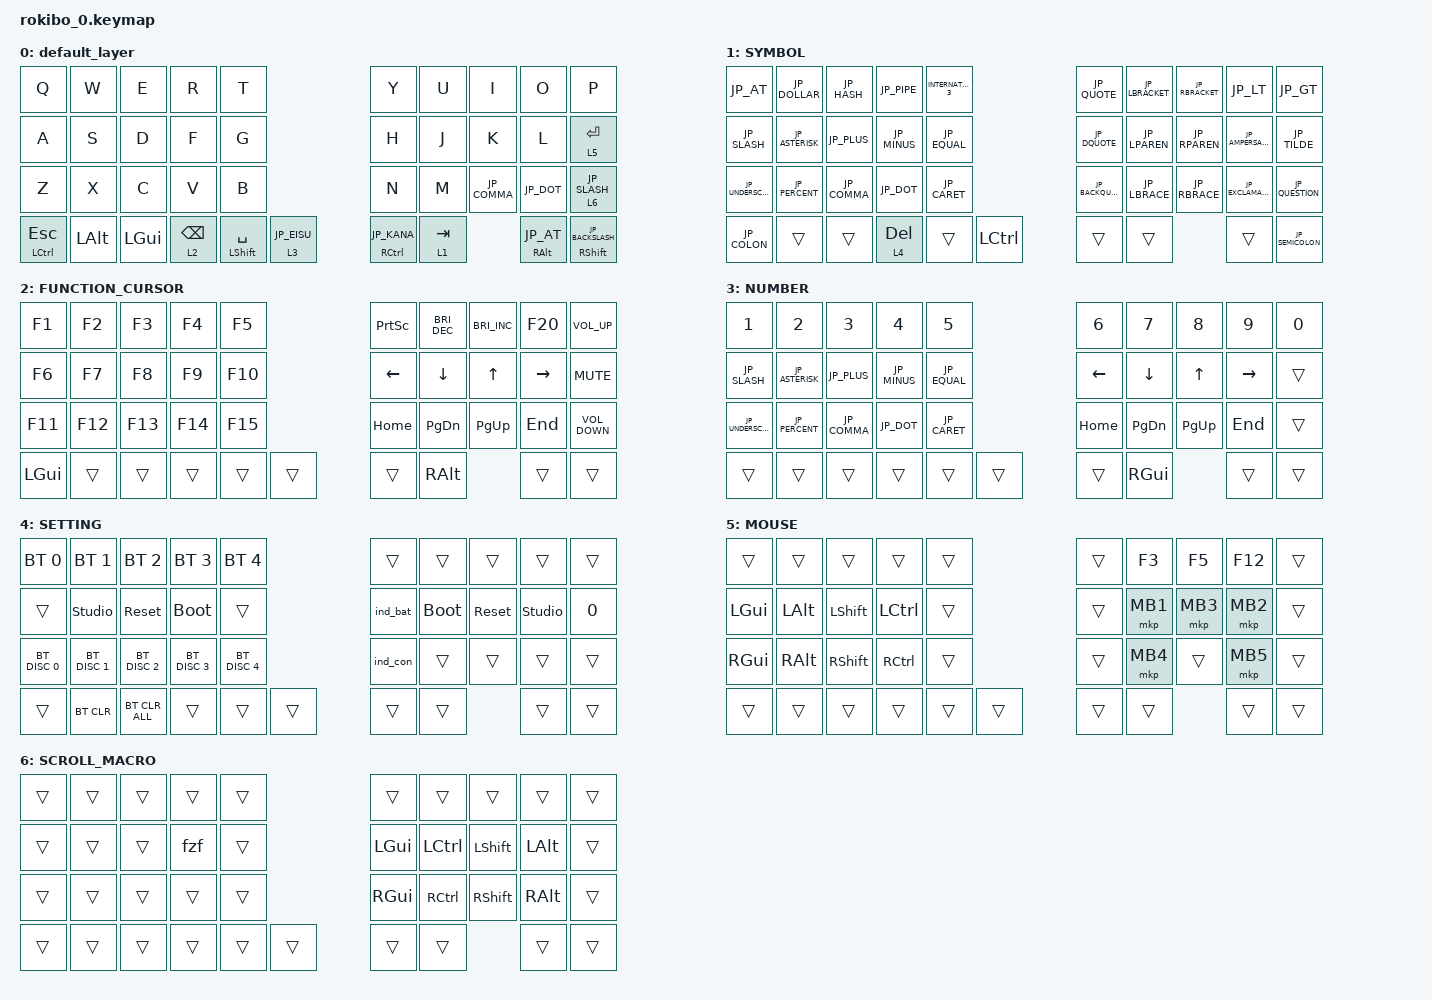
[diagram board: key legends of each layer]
#include <behaviors.dtsi>
#include <dt-bindings/zmk/bt.h>
#include <dt-bindings/zmk/keys.h>
#include <dt-bindings/zmk/pointing.h>
#include <behaviors/rgbled_widget.dtsi>
#include "keys_jp.h"

&mt {
    flavor = "hold-preferred";
    tapping-term-ms = <200>;
    quick-tap-ms = <200>;
};
&lt {
    flavor = "hold-preferred";
    tapping-term-ms = <200>;
    quick-tap-ms = <200>;
};
&trackball {
    scroll-layers = <6>;
    workspace_actions {
        layers = <0>;
        modifiers = <LEFT_GUI>;
        tick = <75>;
        tap-ms = <30>;
        wait-ms = <333>;
        bindings = <&kp PAGE_UP>, <&kp PAGE_DOWN>, <&none>, <&none>;
    };
    zoom_actions {
        layers = <0>;
        modifiers = <LEFT_CONTROL>;
        tick = <75>;
        tap-ms = <30>;
        wait-ms = <333>;
        bindings = <&kp NUMBER_0>, <&kp NUMBER_0>, <&kp JP_PLUS>, <&kp JP_MINUS>;
    };
    zoom_alt_actions {
        layers = <0>;
        modifiers = <LEFT_ALT>;
        tick = <75>;
        tap-ms = <30>;
        wait-ms = <333>;
        bindings = <&kp LC(NUMBER_0)>, <&kp LC(NUMBER_0)>, <&kp LC(JP_CARET)>, <&kp LC(JP_MINUS)>;
    };
    copy_paste_actions {
        layers = <0>;
        modifiers = <LEFT_SHIFT>;
        tick = <75>;
        tap-ms = <30>;
        wait-ms = <333>;
        bindings = <&kp END>, <&kp HOME>, <&kp LC(C)>, <&kp LC(V)>;
    };
};


/ {
    behaviors {
        mb1_lc_mb4: mb1_lc_mb4_node {
            compatible = "zmk,behavior-mod-morph";
            #binding-cells = <0>;
            bindings = <&mkp MB1>, <&mkp MB4>;
            mods = <(MOD_LCTL)>;
        };
        mb2_lc_mb5: mb2_lc_mb5_node {
            compatible = "zmk,behavior-mod-morph";
            #binding-cells = <0>;
            bindings = <&mkp MB2>, <&mkp MB5>;
            mods = <(MOD_LCTL)>;
        };
    };
    macros {
        fzf: macro_node {
            compatible = "zmk,behavior-macro";
            #binding-cells = <0>;
            bindings = <&kp JP_DOLLAR>, <&kp JP_LPAREN>, <&kp F>, <&kp Z>, <&kt F>, <&kp JP_RPAREN>;
            tap-ms = <10>;
        };
    };

    keymap {
        compatible = "zmk,keymap";


        default_layer {
            bindings = <
&kp Q                    &kp W         &kp E         &kp R            &kp T                            &kp Y              &kp U      &kp I         &kp O                &kp P
&kp A                    &kp S         &kp D         &kp F            &kp G                            &kp H              &kp J      &kp K         &kp L                &lt 5 ENTER
&kp Z                    &kp X         &kp C         &kp V            &kp B                            &kp N              &kp M      &kp JP_COMMA  &kp JP_DOT           &lt 6 JP_SLASH
&mt LEFT_CONTROL ESCAPE  &kp LEFT_ALT  &kp LEFT_GUI  &lt 2 BACKSPACE  &mt LSHIFT SPACE  &lt 3 JP_EISU  &mt RCTRL JP_KANA  &lt 1 TAB                &mt RIGHT_ALT JP_AT  &mt RSHIFT JP_BACKSLASH
            >;
        };

        SYMBOL {
            bindings = <
&kp JP_AT          &kp JP_DOLLAR    &kp JP_HASH   &kp JP_PIPE   &kp INTERNATIONAL_3                    &kp JP_QUOTE      &kp JP_LBRACKET  &kp JP_RBRACKET  &kp JP_LT           &kp JP_GT
&kp JP_SLASH       &kp JP_ASTERISK  &kp JP_PLUS   &kp JP_MINUS  &kp JP_EQUAL                           &kp JP_DQUOTE     &kp JP_LPAREN    &kp JP_RPAREN    &kp JP_AMPERSAND    &kp JP_TILDE
&kp JP_UNDERSCORE  &kp JP_PERCENT   &kp JP_COMMA  &kp JP_DOT    &kp JP_CARET                           &kp JP_BACKQUOTE  &kp JP_LBRACE    &kp JP_RBRACE    &kp JP_EXCLAMATION  &kp JP_QUESTION
&kp JP_COLON       &trans           &trans        &lt 4 DELETE  &trans               &kp LEFT_CONTROL  &trans            &trans                            &trans              &kp JP_SEMICOLON
            >;
        };

        FUNCTION_CURSOR {
            bindings = <
&kp F1        &kp F2   &kp F3   &kp F4   &kp F5           &kp PRINTSCREEN  &kp C_BRIGHTNESS_DEC  &kp C_BRIGHTNESS_INC  &kp F20          &kp C_VOLUME_UP
&kp F6        &kp F7   &kp F8   &kp F9   &kp F10          &kp LEFT_ARROW   &kp DOWN_ARROW        &kp UP_ARROW          &kp RIGHT_ARROW  &kp C_MUTE
&kp F11       &kp F12  &kp F13  &kp F14  &kp F15          &kp HOME         &kp PAGE_DOWN         &kp PAGE_UP           &kp END          &kp C_VOLUME_DOWN
&kp LEFT_GUI  &trans   &trans   &trans   &trans   &trans  &trans           &kp RIGHT_ALT                               &trans           &trans
            >;
        };

        NUMBER {
            bindings = <
&kp NUMBER_1       &kp NUMBER_2     &kp NUMBER_3  &kp NUMBER_4  &kp NUMBER_5          &kp NUMBER_6  &kp NUMBER_7   &kp NUMBER_8  &kp NUMBER_9  &kp NUMBER_0
&kp JP_SLASH       &kp JP_ASTERISK  &kp JP_PLUS   &kp JP_MINUS  &kp JP_EQUAL          &kp LEFT      &kp DOWN       &kp UP        &kp RIGHT     &trans
&kp JP_UNDERSCORE  &kp JP_PERCENT   &kp JP_COMMA  &kp JP_DOT    &kp JP_CARET          &kp HOME      &kp PAGE_DOWN  &kp PAGE_UP   &kp END       &trans
&trans             &trans           &trans        &trans        &trans        &trans  &trans        &kp RIGHT_GUI                &trans        &trans
            >;
        };

        SETTING {
            bindings = <
&bt BT_SEL 0   &bt BT_SEL 1    &bt BT_SEL 2    &bt BT_SEL 3   &bt BT_SEL 4           &trans    &trans       &trans      &trans          &trans
&trans         &studio_unlock  &sys_reset      &bootloader    &trans                 &ind_bat  &bootloader  &sys_reset  &studio_unlock  &kp NUMBER_0
&bt BT_DISC 0  &bt BT_DISC 1   &bt BT_DISC 2   &bt BT_DISC 3  &bt BT_DISC 4          &ind_con  &trans       &trans      &trans          &trans
&trans         &bt BT_CLR      &bt BT_CLR_ALL  &trans         &trans         &trans  &trans    &trans                   &trans          &trans
            >;
        };

        MOUSE {
            bindings = <
&trans         &trans         &trans           &trans             &trans          &trans  &kp F3    &kp F5    &kp F12   &trans
&kp LEFT_GUI   &kp LEFT_ALT   &kp LEFT_SHIFT   &kp LEFT_CONTROL   &trans          &trans  &mkp MB1  &mkp MB3  &mkp MB2  &trans
&kp RIGHT_GUI  &kp RIGHT_ALT  &kp RIGHT_SHIFT  &kp RIGHT_CONTROL  &trans          &trans  &mkp MB4  &trans    &mkp MB5  &trans
&trans         &trans         &trans           &trans             &trans  &trans  &trans  &trans              &trans    &trans
            >;
        };

        SCROLL_MACRO {
            bindings = <
&trans  &trans  &trans  &trans  &trans          &trans         &trans             &trans           &trans         &trans
&trans  &trans  &trans  &fzf    &trans          &kp LEFT_GUI   &kp LEFT_CONTROL   &kp LEFT_SHIFT   &kp LEFT_ALT   &trans
&trans  &trans  &trans  &trans  &trans          &kp RIGHT_GUI  &kp RIGHT_CONTROL  &kp RIGHT_SHIFT  &kp RIGHT_ALT  &trans
&trans  &trans  &trans  &trans  &trans  &trans  &trans         &trans                              &trans         &trans
            >;
        };
    };
};
